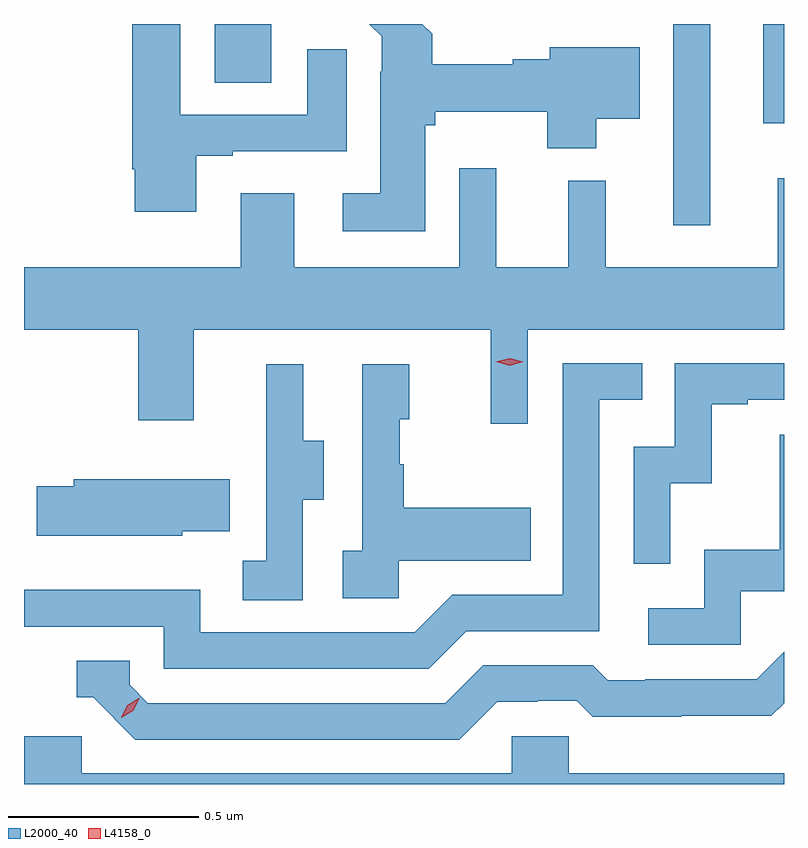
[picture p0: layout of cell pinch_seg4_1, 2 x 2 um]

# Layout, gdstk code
import gdstk
lib = gdstk.Library(unit=1e-6, precision=1e-09)
def R(c, l, rs):  # rectangles x0, y0, x1, y1
    for r in rs: c.add(gdstk.rectangle(r[:2], r[2:], *l))
def P(c, l, *ps):  # polygons
    for p in ps: c.add(gdstk.Polygon(p, *l))
L2000_40 = (2000, 40)
L4158_0 = (4158, 0)

pinch_seg4_1 = lib.new_cell('pinch_seg4_1')
R(pinch_seg4_1, L2000_40, [(1086.981,825.066,1087.078,825.596), (1087.217,825.335,1087.272,825.596), (1085.774,825.442,1085.923,825.596)])
P(pinch_seg4_1, L2000_40, [(1085.725,825.249),(1085.821,825.249),(1085.821,825.261),(1086.121,825.261),(1086.121,825.529),(1086.017,825.529),(1086.017,825.357),(1085.683,825.357),(1085.683,825.596),(1085.557,825.596),(1085.557,825.214),(1085.564,825.214),(1085.564,825.102),(1085.725,825.102)],
  [(1086.328,825.33),(1086.354,825.33),(1086.354,825.365),(1086.649,825.365),(1086.649,825.269),(1086.778,825.269),(1086.778,825.347),(1086.892,825.347),(1086.892,825.535),(1086.656,825.535),(1086.656,825.503),(1086.558,825.503),(1086.558,825.49),(1086.346,825.49),(1086.346,825.57),(1086.32,825.596),(1086.181,825.596),(1086.213,825.564),(1086.213,825.47),(1086.209,825.47),(1086.209,825.151),(1086.111,825.151),(1086.111,825.05),(1086.328,825.05)],
  [(1086.597,824.792),(1087.272,824.792),(1087.272,825.19),(1087.256,825.19),(1087.256,824.956),(1086.803,824.956),(1086.803,825.184),(1086.704,825.184),(1086.704,824.956),(1086.515,824.956),(1086.515,825.217),(1086.417,825.217),(1086.417,824.956),(1085.983,824.956),(1085.983,825.151),(1085.843,825.151),(1085.843,824.956),(1085.272,824.956),(1085.272,824.792),(1085.572,824.792),(1085.572,824.553),(1085.719,824.553),(1085.719,824.792),(1086.5,824.792),(1086.5,824.544),(1086.597,824.544)],
  [(1086.972,824.387),(1087.082,824.387),(1087.082,824.595),(1087.177,824.595),(1087.177,824.607),(1087.272,824.607),(1087.272,824.703),(1086.984,824.703),(1086.984,824.484),(1086.876,824.484),(1086.876,824.175),(1086.972,824.175)],
  [(1086.436,823.998),(1086.786,823.998),(1086.786,824.607),(1086.899,824.607),(1086.899,824.703),(1086.69,824.703),(1086.69,824.094),(1086.399,824.094),(1086.3,823.995),(1085.736,823.995),(1085.736,824.107),(1085.272,824.107),(1085.272,824.01),(1085.64,824.01),(1085.64,823.899),(1086.337,823.899)],
  [(1086.258,824.183),(1086.605,824.183),(1086.605,824.323),(1086.271,824.323),(1086.271,824.438),(1086.261,824.438),(1086.261,824.556),(1086.286,824.556),(1086.286,824.701),(1086.162,824.701),(1086.162,824.21),(1086.111,824.21),(1086.111,824.085),(1086.258,824.085)],
  [(1086.006,824.344),(1086.061,824.344),(1086.061,824.499),(1086.007,824.499),(1086.007,824.701),(1085.909,824.701),(1085.909,824.487),(1085.91,824.487),(1085.91,824.183),(1085.847,824.183),(1085.847,824.08),(1086.006,824.08)],
  [(1087.158,824.103),(1087.272,824.103),(1087.272,824.515),(1087.261,824.515),(1087.261,824.212),(1087.062,824.212),(1087.062,824.058),(1086.915,824.058),(1086.915,823.962),(1087.158,823.962)],
  [(1085.688,824.261),(1085.813,824.261),(1085.813,824.398),(1085.403,824.398),(1085.403,824.379),(1085.305,824.379),(1085.305,824.249),(1085.688,824.249)],
  [(1086.517,823.812),(1086.624,823.812),(1086.624,823.815),(1086.727,823.815),(1086.769,823.773),(1087.002,823.773),(1087.002,823.775),(1087.238,823.775),(1087.272,823.809),(1087.272,823.944),(1087.2,823.872),(1086.907,823.872),(1086.907,823.869),(1086.808,823.869),(1086.769,823.908),(1086.48,823.908),(1086.381,823.809),(1085.598,823.809),(1085.55,823.857),(1085.55,823.92),(1085.411,823.92),(1085.411,823.824),(1085.454,823.824),(1085.565,823.713),(1086.418,823.713)],
  [(1087.272,823.624),(1086.705,823.624),(1086.705,823.722),(1086.555,823.722),(1086.555,823.624),(1085.424,823.624),(1085.424,823.722),(1085.273,823.722),(1085.273,823.624),(1085.272,823.624),(1085.272,823.596),(1087.272,823.596)])
P(pinch_seg4_1, L4158_0, [(1086.55,824.697),(1086.514,824.707),(1086.514,824.707),(1086.514,824.707),(1086.55,824.717),(1086.586,824.707),(1086.586,824.707),(1086.586,824.707)],
  [(1085.528,823.77),(1085.528,823.77),(1085.544,823.803),(1085.574,823.822),(1085.575,823.822),(1085.575,823.822),(1085.559,823.789),(1085.528,823.77)])

lib.write_gds('pinch_seg4_1.gds')
